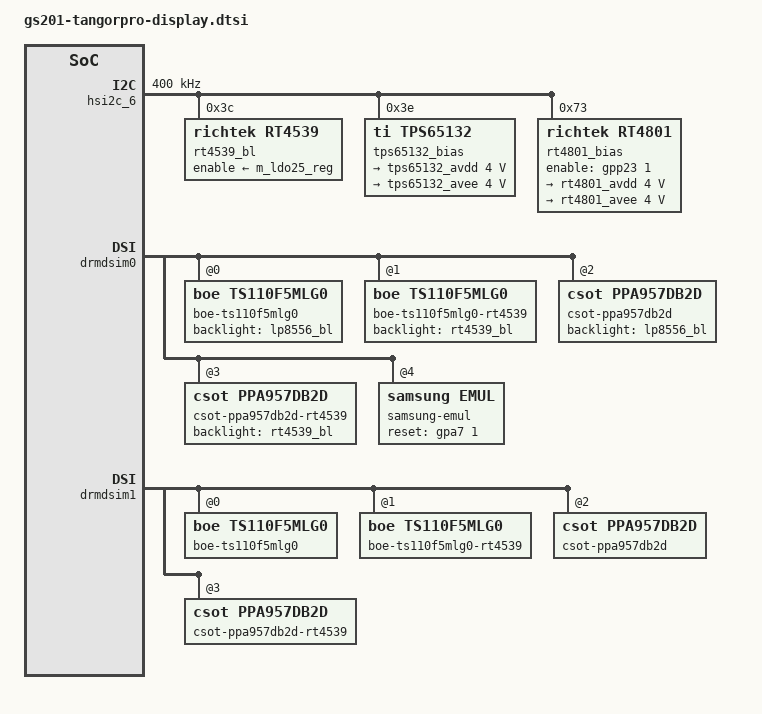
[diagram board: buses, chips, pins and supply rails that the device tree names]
// SPDX-License-Identifier: GPL-2.0-only
/*
 * Display nodes for tangorpro-related boards.
 *
 * Copyright 2022 Google LLC
 *
 */
#include "gs201-tangorpro-display-constants.dtsi"

&reserved_memory {
	#address-cells = <2>;
	#size-cells = <1>;

	fb_handover: fb_handover {
		compatible = "exynos,fb_handover";
		reg = <0x0 0xfac00000 0x01400000>;
	};
};

&s2mpu_dpu0 {
	dma-cons = <&drmdecon0>;
};

&hsi2c_6 {
	#address-cells = <1>;
	#size-cells = <0>;
	status = "okay";
	clock-frequency = <400000>;

	lp8556_bl: backlight@2c {
		/*
		 * If bootloader probed lp8556_bl successfully, it will change
		 * lp8556_bl to status = "okay" and rt4539_bl to status = "disabled"
		 */
		status = "disabled";
		compatible = "ti,lp8556";
		reg = <0x2c>;

		bl-name = "lcd-bl";
		enable-supply = <&m_ldo25_reg>;
		dev-ctrl = /bits/ 8 <0x81>;

		/* 5 LED strings enabled */
		led-string-en = /bits/ 8 <0x1f>;

		/* set maximum current at 23mA */
		rom_cfg1 {
			rom-addr = /bits/ 8 <0xa1>;
			rom-val = /bits/ 8 <0x4f>;
		};

		/* PWM output phase config for 5 LED strings */
		rom_cfg5 {
			rom-addr = /bits/ 8 <0xa5>;
			rom-val = /bits/ 8 <0x14>;
		};
	};
	rt4539_bl: backlight@3c {
		/*
		 * If bootloader probed lp8556_bl successfully, it will change
		 * lp8556_bl to status = "okay" and rt4539_bl to status = "disabled"
		 */
		status = "okay";
		compatible = "richtek,rt4539";
		reg = <0x3c>;

		bl-name = "lcd-bl";
		enable-supply = <&m_ldo25_reg>;

		/* LED driver headroom 400mV  */
		led-headroom = /bits/ 8 <0x00>;

		bit-selection = /bits/ 8 <12>;

		/* 28% (140 nits) initial brightness */
		initial-brightness = /bits/ 16 <1146>;

		/* DC Mode */
		dimming-mode = /bits/ 8 <0x04>;

		/* 1225kHz */
		boost-switch-freq = /bits/ 8 <0x0c>;

		/* 0.5 us */
		fade-in-out-time-ctrl = /bits/ 8 <0x00>;

		/* 8 ms */
		slope-time-ctrl = /bits/ 8 <0x02>;

		/* no filter */
		slope-time-filter = /bits/ 8 <0x00>;

		/* max current 23mA */
		current-max = /bits/ 8 <0x9b>;

		/* PWM signal multiplied with I2C */
		brightness-control = /bits/ 8 <0x02>;

		/* 5 LEDS */
		enabled-leds = /bits/ 8 <0x3e>;

		/* 25V */
		boost-ovp-selection = /bits/ 8 <0x0f>;
		led-short-protection;
		pfm-enable;
	};

	tps65132_bias: lcd-bias@3e {
		/*
		 * If bootloader probed rt4801_bias successfully, it will change
		 * tps65132_bias to status = "disabled"
		 */
		compatible = "ti,tps65132";
		reg = <0x3e>;

		tps65132_avdd: outp {
			regulator-name = "disp_avdd";
			regulator-min-microvolt = <4000000>;
			regulator-max-microvolt = <TANGORPRO_AVDD_MICROVOLT>;
			regulator-boot-on;
			enable-gpios = <&gpp23 1 GPIO_ACTIVE_HIGH>;
		};

		tps65132_avee: outn {
			regulator-name = "disp_avee";
			regulator-min-microvolt = <4000000>;
			regulator-max-microvolt = <TANGORPRO_AVEE_MICROVOLT>;
			regulator-boot-on;
		};
	};

	rt4801_bias: lcd-bias@73 {
		/*
		 * If bootloader probed tps65132_bias successfully, it will change
		 * rt4801_bias to status = "disabled"
		 */
		compatible = "richtek,rt4801";
		reg = <0x73>;
		enable-gpios = <&gpp23 1 GPIO_ACTIVE_HIGH>;

		rt4801_avdd: DSVP {
			regulator-name = "disp_avdd";
			regulator-min-microvolt = <4000000>;
			regulator-max-microvolt = <TANGORPRO_AVDD_MICROVOLT>;
			regulator-boot-on;
		};

		rt4801_avee: DSVN {
			regulator-name = "disp_avee";
			regulator-min-microvolt = <4000000>;
			regulator-max-microvolt = <TANGORPRO_AVEE_MICROVOLT>;
			regulator-boot-on;
		};
	};
};

&drmdecon0 {
	override-hibernation;
	memory-region = <&fb_handover>;
	samsung,iommu-identity-map = <0x0 0xFAC00000 0x01400000>;
};

&dsim_modes {
	dsim-modes {
		1600x2560 {
			mode-name = "1600x2560";
			pmsk = <
				0x2 0xA6 0x2 0x2DAB /* p m s k */
				>;
			hs-clk = <1021>;
			esc-clk = <20>;
		};
	};
};

&drmdsim0 {
	status = "ok";
	#address-cells = <1>;
	#size-cells = <0>;

	boe_ts110f5mlg0_m0: panel@0 {
		compatible = "boe,ts110f5mlg0";
		label = "boe-ts110f5mlg0";
		channel = <0>;
		touch = <&spitouch>;
		dual-dsi = "main";
		backlight = <&lp8556_bl>;
		bl-ctrl-dcs;
		#include "gs201-tangorpro-display-common.dtsi"
	};
	boe_ts110f5mlg0_rt4539_m0: panel@1 {
		compatible = "boe,ts110f5mlg0";
		label = "boe-ts110f5mlg0-rt4539";
		channel = <0>;
		touch = <&spitouch>;
		dual-dsi = "main";
		backlight = <&rt4539_bl>;
		#include "gs201-tangorpro-display-common.dtsi"
	};
	csot_ppa957db2d_m0: panel@2 {
		compatible = "csot,ppa957db2d";
		label = "csot-ppa957db2d";
		channel = <0>;
		touch = <&spitouch>;
		dual-dsi = "main";
		backlight = <&lp8556_bl>;
		bl-ctrl-dcs;
		#include "gs201-tangorpro-display-common.dtsi"
	};
	csot_ppa957db2d_rt4539_m0: panel@3 {
		compatible = "csot,ppa957db2d";
		label = "csot-ppa957db2d-rt4539";
		channel = <0>;
		touch = <&spitouch>;
		dual-dsi = "main";
		backlight = <&rt4539_bl>;
		#include "gs201-tangorpro-display-common.dtsi"
	};
	panel@4 {
		compatible = "samsung,emul";
		label = "samsung-emul";
		channel = <0>;

		/* reset, power */
		reset-gpios = <&gpa7 1 GPIO_ACTIVE_HIGH>;
	};
};

&drmdsim1 {
	status = "ok";
	#address-cells = <1>;
	#size-cells = <0>;

	boe_ts110f5mlg0_m1: panel@0 {
		compatible = "boe,ts110f5mlg0";
		label = "boe-ts110f5mlg0";
		channel = <0>;
		touch = <&spitouch>;
		dual-dsi = "sec";
	};
	boe_ts110f5mlg0_rt4539_m1: panel@1 {
		compatible = "boe,ts110f5mlg0";
		label = "boe-ts110f5mlg0-rt4539";
		channel = <0>;
		touch = <&spitouch>;
		dual-dsi = "sec";
	};
	csot_ppa957db2d_m1: panel@2 {
		compatible = "csot,ppa957db2d";
		label = "csot-ppa957db2d";
		channel = <0>;
		touch = <&spitouch>;
		dual-dsi = "sec";
	};
	csot_ppa957db2d_rt4539_m1: panel@3 {
		compatible = "csot,ppa957db2d";
		label = "csot-ppa957db2d-rt4539";
		channel = <0>;
		touch = <&spitouch>;
		dual-dsi = "sec";
	};
};
